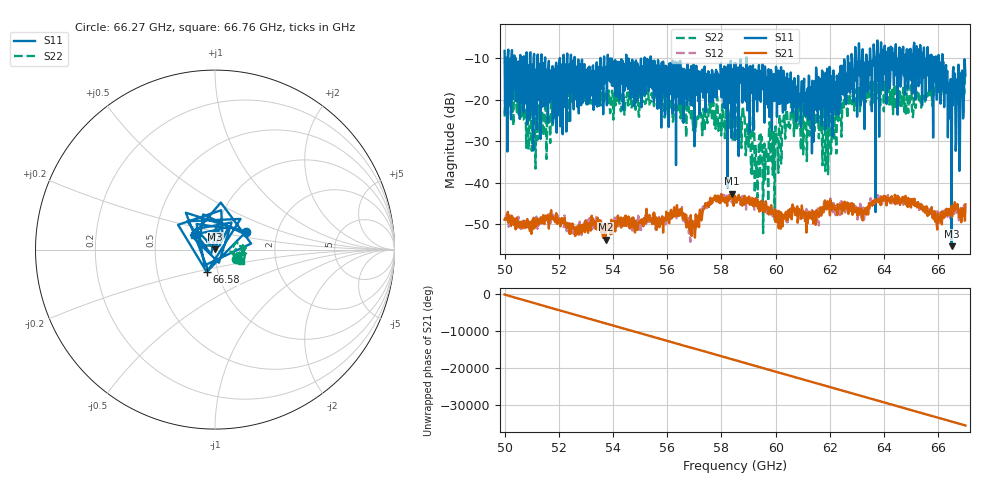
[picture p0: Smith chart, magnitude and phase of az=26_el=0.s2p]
!Created with skrf (http://scikit-rf.org).
# GHz S RI R 50.0
!freq ReS11 ImS11 ReS21 ImS21 ReS12 ImS12 ReS22 ImS22
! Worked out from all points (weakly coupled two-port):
!   1001 points, 50 GHz to 67 GHz, reference 50 ohm
!   highest |S21| = -42.71 dB at 58.38 GHz (marker M1); lowest = -53.8 dB at 53.72 GHz (marker M2)
!   lowest |S11| = -55.4 dB at 66.49 GHz (marker M3), VSWR 1.00, Z = 50.1 + j0.124 ohm
!   |S11| at or under -10 dB: 52.58 GHz to 53.54 GHz (950.7 MHz wide, 1.79 % of centre); 55.39 GHz to 58.92 GHz (3.534 GHz wide, 6.18 % of centre); 58.93 GHz to 62.66 GHz (3.738 GHz wide, 6.15 % of centre) (the widest 3 of 62)
!   |S22| runs from -52.2 to -13.1 dB; largest |S21 - S12| = 0.0028
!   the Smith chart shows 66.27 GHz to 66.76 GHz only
!   S11 on the Smith chart (normalised r, x): 66.27 GHz: 1.39, +0.28; 66.58 GHz: 0.88, -0.22; 66.76 GHz: 0.78, +0.13
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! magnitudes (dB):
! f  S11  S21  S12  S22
! 50 GHz  -8.2  -48.9  -49.3  -24.1
! 50.42 GHz  -20.4  -50.1  -50.4  -20.6
! 51.07 GHz  -10.0  -48.5  -48.8  -25.9
! 52.84 GHz  -12.2  -52.3  -52.7  -18.9
! 53.72 GHz  -13.7  -53.8  -52.5  -20.4
! 55.68 GHz  -13.2  -50.3  -50.0  -21.1
! 56.48 GHz  -10.6  -47.9  -46.5  -23.2
! 56.87 GHz  -21.3  -47.9  -48.0  -23.7
! 58.38 GHz  -12.5  -42.7  -44.8  -23.4
! 58.5 GHz  -29.7  -43.5  -44.1  -24.5
! 59.61 GHz  -12.0  -47.1  -46.4  -39.4
! 60.34 GHz  -14.7  -48.4  -48.6  -26.2
! 61.34 GHz  -33.0  -48.9  -46.6  -26.8
! 61.88 GHz  -16.8  -46.2  -46.9  -24.4
! 62.55 GHz  -11.4  -44.6  -45.0  -18.8
! 64.18 GHz  -12.1  -43.7  -44.2  -17.3
! 66.27 GHz  -14.0  -46.8  -47.3  -17.9
! 66.44 GHz  -22.4  -46.6  -48.6  -16.7
! 66.49 GHz  -55.4  -46.5  -47.0  -15.2
! 66.58 GHz  -17.6  -45.8  -47.3  -16.0
! 66.76 GHz  -16.8  -48.4  -49.1  -16.0
! 67 GHz  -14.1  -45.3  -47.4  -14.6
